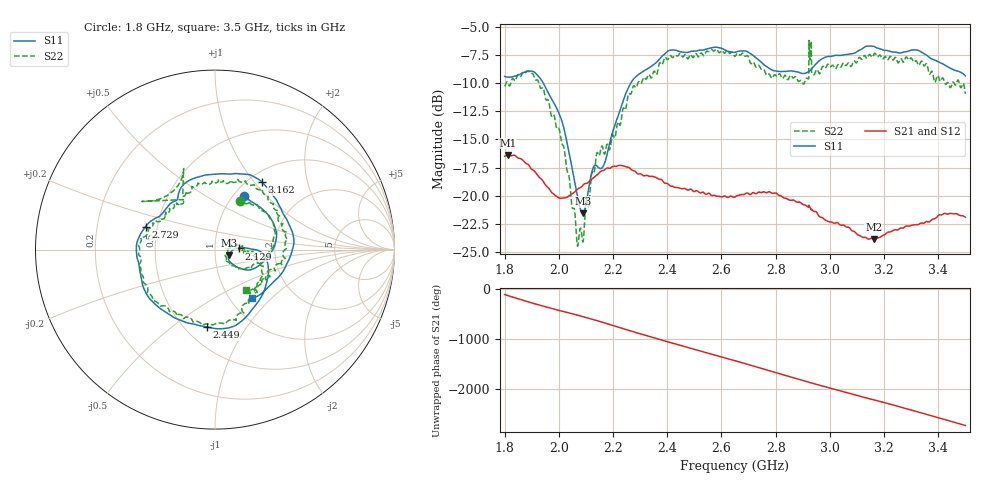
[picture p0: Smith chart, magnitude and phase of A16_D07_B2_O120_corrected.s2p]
! Created with skrf 1.9.0 (http://scikit-rf.org).
# Hz S RI R 50.0
!freq ReS11 ImS11 ReS21 ImS21 ReS12 ImS12 ReS22 ImS22
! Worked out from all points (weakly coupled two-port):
!   1601 points, 1.8 GHz to 3.5 GHz, reference 50 ohm
!   highest |S21| = -16.37 dB at 1.812 GHz (marker M1); lowest = -23.8 dB at 3.162 GHz (marker M2)
!   lowest |S11| = -21.6 dB at 2.088 GHz (marker M3), VSWR 1.18, Z = 58.2 - j3.71 ohm
!   |S11| at or under -10 dB: 1.943 GHz to 2.266 GHz (323.5 MHz wide, 15.4 % of centre)
!   |S22| runs from -24.5 to -6.2 dB; largest |S21 - S12| = 0.0028
!   S11 on the Smith chart (normalised r, x): 1.8 GHz: 1.12, +0.75; 2.129 GHz: 1.31, +0.02; 2.449 GHz: 0.63, -0.67; 2.729 GHz: 0.43, +0.13; 3.162 GHz: 1.15, +1.10; 3.5 GHz: 1.27, -0.77
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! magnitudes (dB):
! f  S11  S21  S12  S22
! 1.8 GHz  -9.4  -16.5  -16.5  -10.3
! 1.812 GHz  -9.5  -16.4  -16.4  -10.0
! 1.888 GHz  -9.0  -17.2  -17.3  -9.0
! 1.941 GHz  -9.9  -18.7  -18.7  -10.4
! 2.013 GHz  -13.5  -20.2  -20.2  -15.4
! 2.067 GHz  -19.8  -19.5  -19.5  -24.1
! 2.084 GHz  -21.4  -19.2  -19.2  -23.2
! 2.088 GHz  -21.6  -19.1  -19.1  -24.1
! 2.129 GHz  -17.4  -18.4  -18.4  -18.0
! 2.167 GHz  -17.2  -17.8  -17.7  -16.2
! 2.268 GHz  -9.9  -17.7  -17.7  -10.9
! 2.367 GHz  -8.0  -18.5  -18.5  -8.6
! 2.449 GHz  -7.2  -19.4  -19.4  -7.4
! 2.65 GHz  -7.3  -20.1  -20.1  -7.7
! 2.729 GHz  -7.8  -19.8  -19.8  -8.6
! 2.901 GHz  -9.2  -20.8  -20.8  -10.1
! 2.934 GHz  -8.7  -21.2  -21.2  -9.1
! 2.941 GHz  -8.5  -21.4  -21.3  -9.3
! 3.162 GHz  -6.8  -23.8  -23.8  -7.5
! 3.217 GHz  -7.2  -23.2  -23.2  -7.8
! 3.326 GHz  -7.1  -22.5  -22.5  -8.4
! 3.5 GHz  -9.4  -21.9  -21.9  -11.0
